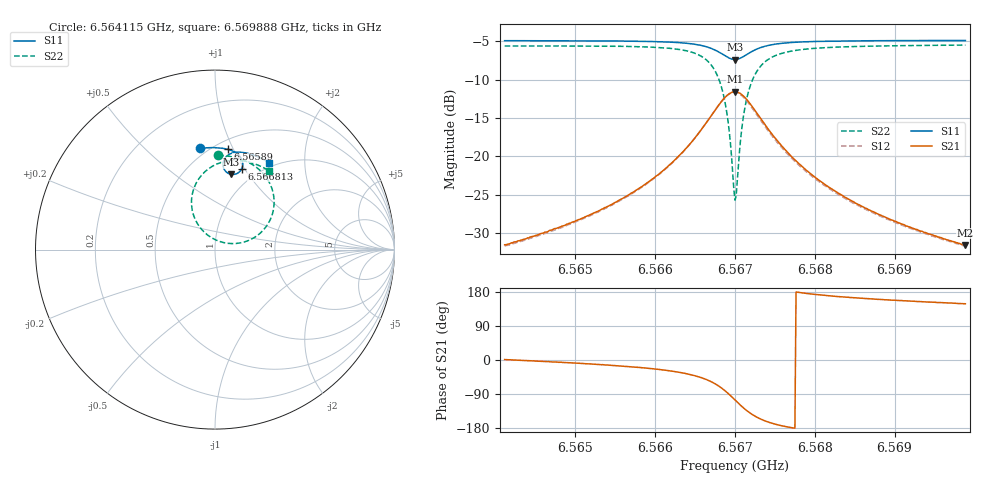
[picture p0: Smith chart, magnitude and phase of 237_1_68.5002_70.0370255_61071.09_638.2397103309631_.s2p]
#  HZ  S  RI  R  50.00
! Rohde & Schwarz Vector Network Analyzer
! Rohde-Schwarz,ZNB20-2Port,1311601062101988,3.16
! Created: UTC 3/20/2024, 4:59:11 PM
! freq[Hz]  re:S11  im:S11  re:S21  im:S21  re:S12  im:S12  re:S22  im:S22
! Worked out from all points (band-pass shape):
!   401 points, 6.564115 GHz to 6.569888 GHz, reference 50 ohm
!   highest |S21| = -11.57 dB at 6.567001 GHz (marker M1); lowest = -31.6 dB at 6.569888 GHz (marker M2)
!   |S21| within 3 dB of the highest: 6.566712 GHz to 6.567289 GHz (576.9 kHz wide, 0.00878 % of centre)
!   lowest |S11| = -7.4 dB at 6.567001 GHz (marker M3), VSWR 2.50, Z = 40.4 + j41.6 ohm
!   |S11| at or under -10 dB: nowhere
!   |S22| runs from -25.7 to -5.5 dB; largest |S21 - S12| = 0.012
!   S11 on the Smith chart (normalised r, x): 6.564115 GHz: 0.45, +0.76; 6.56589 GHz: 0.58, +0.95; 6.566813 GHz: 0.83, +0.97; 6.569888 GHz: 0.93, +1.34
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6.5641147e9  -0.0813 0.5634  0.0265 0.000553  0.0259 -4.22e-06  0.0176 0.525
6.5650816e9  -0.00303 0.568  0.0389 -0.00626  0.0383 -0.00688  0.1064 0.5143
6.5658898e9  0.0699 0.5587  0.062 -0.0244  0.061 -0.0249  0.2038 0.4764
6.5660486e9  0.0862 0.5538  0.0695 -0.0322  0.0686 -0.0332  0.2286 0.46
6.5663516e9  0.1197 0.537  0.0887 -0.0608  0.0873 -0.0619  0.2842 0.4039
6.5665681e9  0.1444 0.5113  0.1022 -0.1053  0.1001 -0.1073  0.3235 0.3178
6.5667125e9  0.1545 0.4805  0.0984 -0.1592  0.0945 -0.1619  0.324 0.215
6.5668135e9  0.1491 0.451  0.0721 -0.2097  0.0656 -0.2125  0.2788 0.12
6.5669001e9  0.1287 0.4274  0.0201 -0.2488  0.0103 -0.2493  0.184 0.0498
6.5669289e9  0.1181 0.4219  -0.00404 -0.2562  -0.0143 -0.2553  0.1408 0.0373
6.5669867e9  0.0938 0.4189  -0.0571 -0.2575  -0.0678 -0.253  0.0466 0.0394
6.5670011e9  0.0874 0.4198  -0.0703 -0.2545  -0.0809 -0.249  0.0236 0.0462
6.56703e9  0.0756 0.4238  -0.0956 -0.2447  -0.1053 -0.2373  -0.0196 0.0664
6.5670877e9  0.0566 0.4391  -0.1367 -0.2125  -0.1436 -0.2029  -0.0866 0.1275
6.567131e9  0.048 0.4537  -0.1566 -0.1828  -0.1609 -0.1724  -0.1163 0.1822
6.5671887e9  0.0444 0.474  -0.1691 -0.1428  -0.1703 -0.1329  -0.1308 0.2531
6.5672609e9  0.0484 0.4958  -0.1688 -0.1001  -0.1677 -0.0919  -0.122 0.3271
6.5675207e9  0.0875 0.5346  -0.1265 -0.0218  -0.1237 -0.0183  -0.0261 0.4571
6.5679681e9  0.1459 0.5425  -0.0752 0.0081  -0.0734 0.00916  0.0944 0.4968
6.5683866e9  0.1872 0.5351  -0.0523 0.013  -0.0511 0.0138  0.1616 0.4934
6.568935e9  0.2331 0.5195  -0.0363 0.0143  -0.0355 0.0146  0.2236 0.4769
6.5698875e9  0.3021 0.4847  -0.0225 0.0138  -0.0219 0.0139  0.3034 0.438
